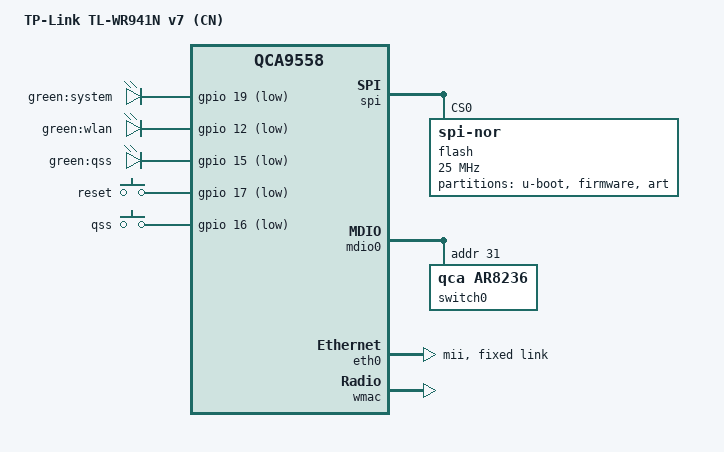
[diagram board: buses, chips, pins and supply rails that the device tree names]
// SPDX-License-Identifier: GPL-2.0-or-later OR MIT

#include "qca955x.dtsi"

#include <dt-bindings/gpio/gpio.h>
#include <dt-bindings/input/input.h>

/ {
	compatible = "tplink,tl-wr941n-v7-cn", "qca,qca9558";
	model = "TP-Link TL-WR941N v7 (CN)";

	aliases {
		led-boot = &led_system;
		led-failsafe = &led_system;
		led-running = &led_system;
		led-upgrade = &led_system;
		label-mac-device = &eth0;
	};

	leds {
		compatible = "gpio-leds";

		led_system: system {
			label = "green:system";
			gpios = <&gpio 19 GPIO_ACTIVE_LOW>;
			default-state = "on";
		};

		wlan {
			label = "green:wlan";
			gpios = <&gpio 12 GPIO_ACTIVE_LOW>;
			linux,default-trigger = "phy0tpt";
		};

		qss {
			label = "green:qss";
			gpios = <&gpio 15 GPIO_ACTIVE_LOW>;
		};
	};

	keys {
		compatible = "gpio-keys";

		reset {
			label = "reset";
			linux,code = <KEY_RESTART>;
			gpios = <&gpio 17 GPIO_ACTIVE_LOW>;
			debounce-interval = <60>;
		};

		wps {
			label = "qss";
			linux,code = <KEY_WPS_BUTTON>;
			gpios = <&gpio 16 GPIO_ACTIVE_LOW>;
			debounce-interval = <60>;
		};
	};
};

&spi {
	status = "okay";

	flash@0 {
		compatible = "jedec,spi-nor";
		reg = <0>;
		spi-max-frequency = <25000000>;

		partitions {
			compatible = "fixed-partitions";
			#address-cells = <1>;
			#size-cells = <1>;

			uboot: partition@0 {
				label = "u-boot";
				reg = <0x000000 0x020000>;
				read-only;
			};

			partition@20000 {
				compatible = "tplink,firmware";
				label = "firmware";
				reg = <0x020000 0x3d0000>;
			};

			art: partition@7f0000 {
				label = "art";
				reg = <0x3f0000 0x010000>;
				read-only;
			};
		};
	};
};

&mdio0 {
	status = "okay";

	switch0@1f {
		compatible = "qca,ar8236";
		reg = <0x1f>;
	};
};

&eth0 {
	status = "okay";
	phy-mode = "mii";
	nvmem-cells = <&macaddr_uboot_1fc00>;
	nvmem-cell-names = "mac-address";
	fixed-link {
		speed = <100>;
		full-duplex;
	};
};

&wmac {
	status = "okay";
	mtd-cal-data = <&art 0x1000>;
	nvmem-cells = <&macaddr_uboot_1fc00>;
	nvmem-cell-names = "mac-address";
};

&uboot {
	compatible = "nvmem-cells";
	#address-cells = <1>;
	#size-cells = <1>;

	macaddr_uboot_1fc00: macaddr@1fc00 {
		reg = <0x1fc00 0x6>;
	};
};
